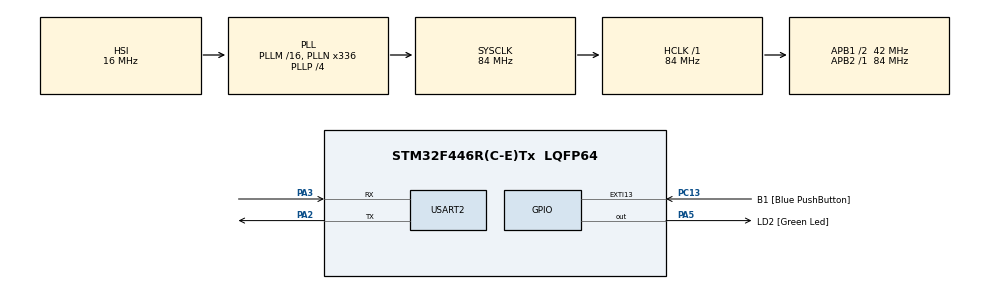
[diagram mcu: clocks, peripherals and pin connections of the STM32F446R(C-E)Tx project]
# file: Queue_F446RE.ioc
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FREERTOS.Tasks01=defaultTask,24,128,StartDefaultTask,Default,NULL,Dynamic,NULL,NULL
Mcu.Family=STM32F4
Mcu.Name=STM32F446R(C-E)Tx
Mcu.Package=LQFP64
NVIC.PriorityGroup=NVIC_PRIORITYGROUP_4
NVIC.TIM1_UP_TIM10_IRQn=true\:15\:0\:false\:false\:true\:false\:false\:true\:true
NVIC.TimeBase=TIM1_UP_TIM10_IRQn
NVIC.TimeBaseIP=TIM1
NVIC.USART2_IRQn=true\:5\:0\:false\:false\:true\:true\:true\:true\:true
PA13.GPIO_Label=TMS
PA13.Mode=Serial_Wire
PA13.Signal=SYS_JTMS-SWDIO
PA14.GPIO_Label=TCK
PA14.Mode=Serial_Wire
PA14.Signal=SYS_JTCK-SWCLK
PA2.GPIO_ModeDefaultPP=GPIO_MODE_AF_PP
PA2.GPIO_PuPd=GPIO_NOPULL
PA2.GPIO_Speed=GPIO_SPEED_FREQ_VERY_HIGH
PA2.Mode=Asynchronous
PA2.Signal=USART2_TX
PA3.GPIO_ModeDefaultPP=GPIO_MODE_AF_PP
PA3.GPIO_PuPd=GPIO_NOPULL
PA3.GPIO_Speed=GPIO_SPEED_FREQ_VERY_HIGH
PA3.Mode=Asynchronous
PA3.Signal=USART2_RX
PA5.GPIO_Label=LD2 [Green Led]
PA5.Signal=GPIO_Output
PB3.GPIO_Label=SWO
PB3.Signal=SYS_JTDO-SWO
PC13.GPIO_Label=B1 [Blue PushButton]
PC13.GPIO_ModeDefaultEXTI=GPIO_MODE_IT_FALLING
PC13.Signal=GPXTI13
PC14-OSC32_IN.Mode=LSE-External-Oscillator
PC14-OSC32_IN.Signal=RCC_OSC32_IN
PC15-OSC32_OUT.Mode=LSE-External-Oscillator
PC15-OSC32_OUT.Signal=RCC_OSC32_OUT
PH0-OSC_IN.Mode=HSE-External-Oscillator
PH0-OSC_IN.Signal=RCC_OSC_IN
PH1-OSC_OUT.Mode=HSE-External-Oscillator
PH1-OSC_OUT.Signal=RCC_OSC_OUT
ProjectManager.HeapSize=0x200
ProjectManager.StackSize=0x400
ProjectManager.TargetToolchain=STM32CubeIDE
RCC.48MHZClocksFreq_Value=84000000
RCC.AHBFreq_Value=84000000
RCC.APB1CLKDivider=RCC_HCLK_DIV2
RCC.APB1Freq_Value=42000000
RCC.APB1TimFreq_Value=84000000
RCC.APB2Freq_Value=84000000
RCC.APB2TimFreq_Value=84000000
RCC.CortexFreq_Value=84000000
RCC.FLatency-AdvancedSettings=FLASH_LATENCY_2
RCC.HCLKFreq_Value=84000000
RCC.HSE_VALUE=8000000
RCC.HSI_VALUE=16000000
RCC.PLLN=336
RCC.PLLP=RCC_PLLP_DIV4
RCC.SYSCLKFreq_VALUE=84000000
RCC.SYSCLKSource=RCC_SYSCLKSOURCE_PLLCLK
RCC.USBFreq_Value=168000000
RCC.VCOOutputFreq_Value=336000000
USART2.VirtualMode=VM_ASYNC
VP_FREERTOS_VS_CMSIS_V2.Mode=CMSIS_V2
VP_SYS_VS_tim1.Mode=TIM1
board=NUCLEO-F446RE

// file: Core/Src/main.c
/* USER CODE BEGIN Header */
/**
  ******************************************************************************
  * @file           : main.c
  * @brief          : Main program body
  ******************************************************************************
  * @attention
  *
  * Copyright (c) 2022 STMicroelectronics.
  * All rights reserved.
  *
  * This software is licensed under terms that can be found in the LICENSE file
  * in the root directory of this software component.
  * If no LICENSE file comes with this software, it is provided AS-IS.
  *
  ******************************************************************************
  */
/* USER CODE END Header */
#include "main.h"
#include "cmsis_os.h"
#include "usart.h"
#include "gpio.h"

/* USER CODE BEGIN Includes */
#include <stdio.h>
#include <stdarg.h>
#include <stdint.h>

#include "FreeRTOS.h"
#include "semphr.h"
#include "task.h"
#include "queue.h"
/* USER CODE END Includes */

void SystemClock_Config(void);
void MX_FREERTOS_Init(void);

/* USER CODE BEGIN 0 */
static QueueHandle_t tx_queue;
/* USER CODE END 0 */

void task1(void* param) {
	uint32_t value = 100U;

	while (1) {
		xQueueSend(tx_queue,&value,10);
		value++;
		vTaskDelay(200);
	}
}

void task2(void* param) {
	uint32_t value = 0U;

	while (1) {
		xQueueSend(tx_queue,&value,10);
		value++;
		vTaskDelay(200);
	}
}

void task3(void* param) {
	char buffer[256];
	uint32_t value = 0;

	while (1) {
		if (xQueueReceive(tx_queue, &value, 10) == pdTRUE) {
			HAL_UART_Transmit(&huart2, (uint8_t*)buffer, snprintf(buffer, 256, "Task says: %ld \n", value), HAL_MAX_DELAY);
			vTaskDelay(500);
		}
	}
}

int main(void)
{

  /* MCU Configuration--------------------------------------------------------*/

  /* Reset of all peripherals, Initializes the Flash interface and the Systick. */
  HAL_Init();

  /* Configure the system clock */
  SystemClock_Config();

  /* Initialize all configured peripherals */
  MX_GPIO_Init();
  MX_USART2_UART_Init();

  /* USER CODE BEGIN 2 */
#if 0
  /* USER CODE END 2 */

  /* Init scheduler */
  osKernelInitialize();  /* Call init function for freertos objects (in freertos.c) */
  MX_FREERTOS_Init();

  /* Start scheduler */
  osKernelStart();

  /* We should never get here as control is now taken by the scheduler */
  /* Infinite loop */
  /* USER CODE BEGIN WHILE */
#endif

  tx_queue = xQueueCreate(256U, sizeof(uint32_t));
  xTaskCreate(task1, "Task1", (configMINIMAL_STACK_SIZE) + 256U, NULL, tskIDLE_PRIORITY +1U, NULL);
  xTaskCreate(task2, "Task2", (configMINIMAL_STACK_SIZE) + 256U, NULL, tskIDLE_PRIORITY +1U, NULL);
  xTaskCreate(task3, "Task3", (configMINIMAL_STACK_SIZE) + 256U, NULL, tskIDLE_PRIORITY +1U, NULL);

  vTaskStartScheduler();
  while (1)
  {
    /* USER CODE END WHILE */

  }
}

void SystemClock_Config(void)
{
  RCC_OscInitTypeDef RCC_OscInitStruct = {0};
  RCC_ClkInitTypeDef RCC_ClkInitStruct = {0};

  /** Configure the main internal regulator output voltage
  */
  __HAL_RCC_PWR_CLK_ENABLE();
  __HAL_PWR_VOLTAGESCALING_CONFIG(PWR_REGULATOR_VOLTAGE_SCALE3);

  /** Initializes the RCC Oscillators according to the specified parameters
  * in the RCC_OscInitTypeDef structure.
  */
  RCC_OscInitStruct.OscillatorType = RCC_OSCILLATORTYPE_HSI;
  RCC_OscInitStruct.HSIState = RCC_HSI_ON;
  RCC_OscInitStruct.HSICalibrationValue = RCC_HSICALIBRATION_DEFAULT;
  RCC_OscInitStruct.PLL.PLLState = RCC_PLL_ON;
  RCC_OscInitStruct.PLL.PLLSource = RCC_PLLSOURCE_HSI;
  RCC_OscInitStruct.PLL.PLLM = 16;
  RCC_OscInitStruct.PLL.PLLN = 336;
  RCC_OscInitStruct.PLL.PLLP = RCC_PLLP_DIV4;
  RCC_OscInitStruct.PLL.PLLQ = 2;
  RCC_OscInitStruct.PLL.PLLR = 2;
  if (HAL_RCC_OscConfig(&RCC_OscInitStruct) != HAL_OK)
  {
    Error_Handler();
  }

  /** Initializes the CPU, AHB and APB buses clocks
  */
  RCC_ClkInitStruct.ClockType = RCC_CLOCKTYPE_HCLK|RCC_CLOCKTYPE_SYSCLK
                              |RCC_CLOCKTYPE_PCLK1|RCC_CLOCKTYPE_PCLK2;
  RCC_ClkInitStruct.SYSCLKSource = RCC_SYSCLKSOURCE_PLLCLK;
  RCC_ClkInitStruct.AHBCLKDivider = RCC_SYSCLK_DIV1;
  RCC_ClkInitStruct.APB1CLKDivider = RCC_HCLK_DIV2;
  RCC_ClkInitStruct.APB2CLKDivider = RCC_HCLK_DIV1;

  if (HAL_RCC_ClockConfig(&RCC_ClkInitStruct, FLASH_LATENCY_2) != HAL_OK)
  {
    Error_Handler();
  }
}

void HAL_TIM_PeriodElapsedCallback(TIM_HandleTypeDef *htim)
{
  if (htim->Instance == TIM1) {
    HAL_IncTick();
  }
}

void Error_Handler(void)
{
  __disable_irq();
  while (1)
  {
  }
}
